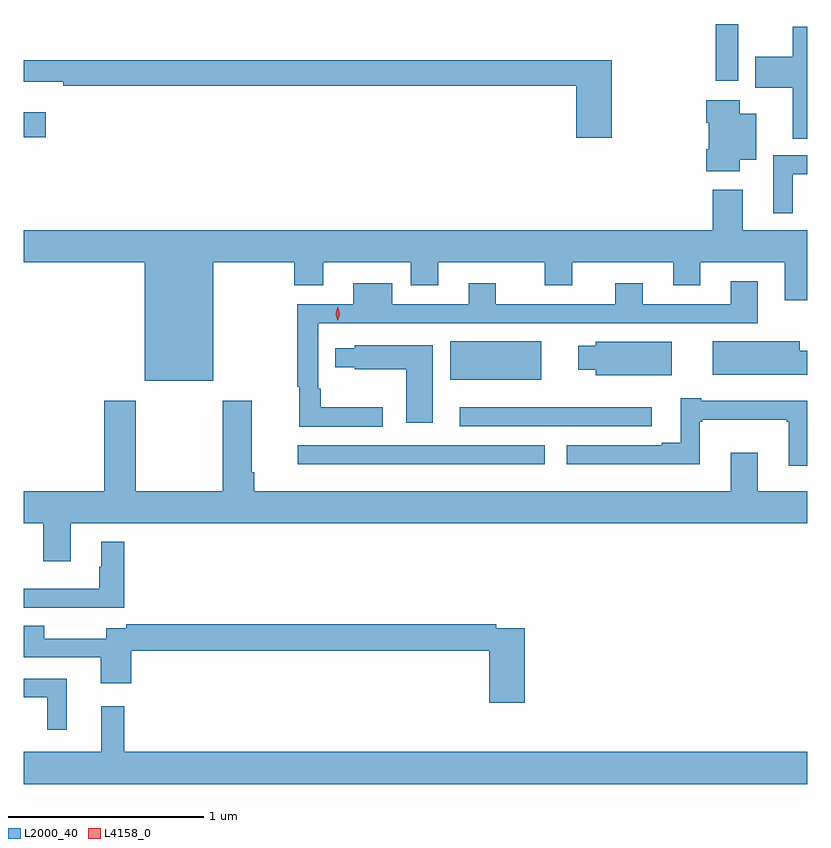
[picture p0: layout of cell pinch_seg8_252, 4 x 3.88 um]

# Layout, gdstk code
import gdstk
lib = gdstk.Library(unit=1e-6, precision=1e-09)
def R(c, l, rs):  # rectangles x0, y0, x1, y1
    for r in rs: c.add(gdstk.rectangle(r[:2], r[2:], *l))
def P(c, l, *ps):  # polygons
    for p in ps: c.add(gdstk.Polygon(p, *l))
L2000_40 = (2000, 40)
L4158_0 = (4158, 0)

pinch_seg8_252 = lib.new_cell('pinch_seg8_252')
R(pinch_seg8_252, L2000_40, [(819.033,1122.128,820.294,1122.225), (819.861,1122.324,820.84,1122.421), (819.812,1122.56,820.276,1122.757), (817.634,1123.798,817.747,1123.927), (821.167,1124.088,821.283,1124.377)])
P(pinch_seg8_252, L2000_40, [(821.634,1124.362),(821.561,1124.362),(821.561,1124.209),(821.368,1124.209),(821.368,1124.051),(821.561,1124.051),(821.561,1123.792),(821.634,1123.792)],
  [(820.637,1124.191),(817.634,1124.191),(817.634,1124.081),(817.834,1124.081),(817.834,1124.062),(820.454,1124.062),(820.454,1123.797),(820.637,1123.797)],
  [(821.29,1123.685),(821.374,1123.685),(821.374,1123.918),(821.29,1123.918),(821.29,1123.987),(821.12,1123.987),(821.12,1123.874),(821.132,1123.874),(821.132,1123.738),(821.12,1123.738),(821.12,1123.626),(821.29,1123.626)],
  [(821.56,1123.611),(821.634,1123.611),(821.634,1123.707),(821.462,1123.707),(821.462,1123.41),(821.56,1123.41)],
  [(818.602,1123.16),(819.016,1123.16),(819.016,1123.043),(819.163,1123.043),(819.163,1123.16),(819.611,1123.16),(819.611,1123.043),(819.751,1123.043),(819.751,1123.16),(820.295,1123.16),(820.295,1123.043),(820.435,1123.043),(820.435,1123.16),(820.949,1123.16),(820.949,1123.043),(821.089,1123.043),(821.089,1123.16),(821.519,1123.16),(821.519,1122.966),(821.634,1122.966),(821.634,1123.324),(821.305,1123.324),(821.305,1123.531),(821.153,1123.531),(821.153,1123.324),(817.634,1123.324),(817.634,1123.16),(818.252,1123.16),(818.252,1122.554),(818.602,1122.554)],
  [(819.466,1122.419),(819.151,1122.419),(819.151,1122.514),(819.138,1122.514),(819.138,1122.849),(821.383,1122.849),(821.383,1123.063),(821.243,1123.063),(821.243,1122.945),(820.795,1122.945),(820.795,1123.054),(820.655,1123.054),(820.655,1122.945),(820.045,1122.945),(820.045,1123.054),(819.905,1123.054),(819.905,1122.945),(819.514,1122.945),(819.514,1123.054),(819.317,1123.054),(819.317,1122.945),(819.03,1122.945),(819.03,1122.524),(819.04,1122.524),(819.04,1122.321),(819.466,1122.321)],
  [(821.634,1122.709),(821.596,1122.709),(821.596,1122.757),(821.153,1122.757),(821.153,1122.587),(821.634,1122.587)],
  [(820.942,1122.754),(820.554,1122.754),(820.554,1122.733),(820.466,1122.733),(820.466,1122.611),(820.554,1122.611),(820.554,1122.584),(820.942,1122.584)],
  [(819.721,1122.736),(819.324,1122.736),(819.324,1122.72),(819.223,1122.72),(819.223,1122.623),(819.324,1122.623),(819.324,1122.614),(819.587,1122.614),(819.587,1122.342),(819.721,1122.342)],
  [(821.634,1122.454),(821.092,1122.454),(821.092,1122.466),(820.988,1122.466),(820.988,1122.238),(820.892,1122.238),(820.892,1122.225),(820.407,1122.225),(820.407,1122.128),(821.086,1122.128),(821.086,1122.345),(821.098,1122.345),(821.098,1122.356),(821.529,1122.356),(821.529,1122.345),(821.54,1122.345),(821.54,1122.12),(821.634,1122.12)],
  [(817.873,1121.828),(821.634,1121.828),(821.634,1121.992),(821.383,1121.992),(821.383,1122.187),(821.243,1122.187),(821.243,1121.992),(818.81,1121.992),(818.81,1122.088),(818.797,1122.088),(818.797,1122.454),(818.65,1122.454),(818.65,1121.992),(818.205,1121.992),(818.205,1122.454),(818.045,1122.454),(818.045,1121.992),(817.634,1121.992),(817.634,1121.828),(817.733,1121.828),(817.733,1121.634),(817.873,1121.634)],
  [(818.147,1121.734),(818.03,1121.734),(818.03,1121.606),(818.019,1121.606),(818.019,1121.494),(817.634,1121.494),(817.634,1121.397),(818.147,1121.397)],
  [(820.193,1121.292),(820.046,1121.292),(820.046,1121.312),(818.158,1121.312),(818.158,1121.292),(818.054,1121.292),(818.054,1121.239),(817.738,1121.239),(817.738,1121.305),(817.634,1121.305),(817.634,1121.142),(818.027,1121.142),(818.027,1121.01),(818.183,1121.01),(818.183,1121.176),(820.01,1121.176),(820.01,1120.911),(820.193,1120.911)],
  [(817.853,1121.034),(817.634,1121.034),(817.634,1120.938),(817.754,1120.938),(817.754,1120.773),(817.853,1120.773)],
  [(821.634,1120.66),(818.147,1120.66),(818.147,1120.894),(818.03,1120.894),(818.03,1120.66),(817.634,1120.66),(817.634,1120.496),(821.634,1120.496)])
P(pinch_seg8_252, L4158_0, [(819.237,1122.861),(819.237,1122.861),(819.227,1122.897),(819.237,1122.933),(819.237,1122.933),(819.238,1122.933),(819.247,1122.897),(819.237,1122.861)])

lib.write_gds('pinch_seg8_252.gds')
